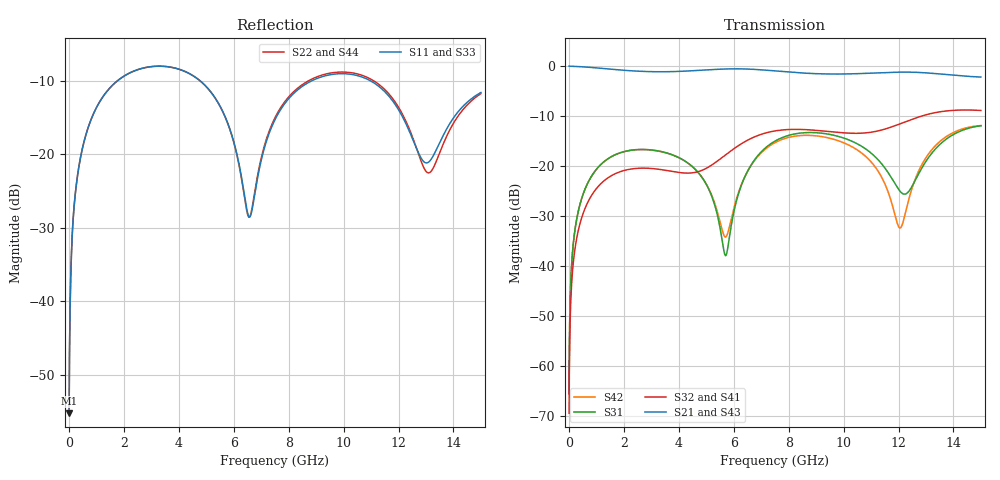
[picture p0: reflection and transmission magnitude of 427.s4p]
! Created with skrf 1.8.0 (http://scikit-rf.org).
# GHz S RI R 50.0
!freq ReS11 ImS11 ReS12 ImS12 ReS13 ImS13
! ReS14 ImS14
! ReS21 ImS21 ReS22 ImS22 ReS23 ImS23
! ReS24 ImS24
! ReS31 ImS31 ReS32 ImS32 ReS33 ImS33
! ReS34 ImS34
! ReS41 ImS41 ReS42 ImS42 ReS43 ImS43
! ReS44 ImS44
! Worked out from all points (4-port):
!   2499 points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, 5 MHz to 15 GHz, reference 50 ohm
!   strongest paths, dB at 5 MHz, 3.476 GHz, 7.19 GHz, 11.1 GHz, 15 GHz:
!     S21: 0.0, -1.1, -0.8, -1.4, -2.2
!     S43: 0.0, -1.1, -0.8, -1.4, -2.2
!     S32: -69.4, -20.8, -13.3, -13.1, -8.9
!     S41: -69.4, -20.8, -13.3, -13.2, -8.9
!     S31: -65.5, -17.2, -16.2, -17.8, -11.9
!     S42: -65.5, -17.3, -16.4, -19.8, -11.9
!   lowest |S11| = -55.3 dB at 5 MHz (marker M1), VSWR 1.00, Z = 50.1 + j0.105 ohm
!   |S11| at or under -10 dB: start of sweep to 1.766 GHz; 4.774 GHz to 8.841 GHz (4.067 GHz wide, 59.7 % of centre); 10.98 GHz to end of sweep
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0.005  0.00137 0.00105  0.9986 -0.00267  6.76e-05 0.000527  -6.58e-05 -0.000333
       0.9986 -0.00267  0.00137 0.00105  -6.58e-05 -0.000333  6.76e-05 0.000527
       6.76e-05 0.000527  -6.58e-05 -0.000333  0.00137 0.00105  0.9986 -0.00267
       -6.58e-05 -0.000333  6.76e-05 0.000527  0.9986 -0.00267  0.00137 0.00105
0.3626511  0.0222 0.0798  0.9695 -0.1928  0.0101 0.0364  -0.00838 -0.0228
           0.9695 -0.1928  0.0223 0.0798  -0.00839 -0.0228  0.01 0.0364
           0.0101 0.0364  -0.00839 -0.0228  0.0222 0.0798  0.9695 -0.1928
           -0.00838 -0.0228  0.01 0.0364  0.9695 -0.1928  0.0223 0.0798
1.67  0.2388 0.1902  0.6154 -0.6893  0.1117 0.0658  -0.082 -0.0167
      0.6154 -0.6893  0.239 0.1901  -0.0821 -0.0166  0.111 0.0667
      0.1117 0.0658  -0.0821 -0.0166  0.2388 0.1902  0.6154 -0.6894
      -0.082 -0.0167  0.111 0.0667  0.6154 -0.6894  0.2391 0.1901
6.465194  0.0366 -0.0231  -0.9307 -0.0929  0.00186 0.0849  -0.0162 0.1787
          -0.9307 -0.0929  0.0365 -0.0208  -0.0142 0.1789  -0.0112 0.0841
          0.00186 0.0849  -0.0142 0.1789  0.0356 -0.0242  -0.9307 -0.093
          -0.0162 0.1787  -0.0112 0.0841  -0.9307 -0.093  0.0377 -0.0214
10.54189  0.3314 -0.0821  0.1483 0.828  0.1161 -0.117  0.1912 -0.09
          0.1483 0.828  0.3377 -0.0945  0.1905 -0.0957  0.12 -0.0771
          0.1161 -0.117  0.1905 -0.0957  0.3294 -0.0784  0.1492 0.8284
          0.1912 -0.09  0.12 -0.0771  0.1492 0.8284  0.3363 -0.0978
12.06128  0.1443 -0.1269  0.6815 0.5424  -0.044 -0.0345  0.1622 -0.21
          0.6815 0.5424  0.1395 -0.1432  0.1563 -0.2145  -0.0223 -0.009
          -0.044 -0.0345  0.1563 -0.2145  0.1439 -0.1234  0.683 0.5413
          0.1622 -0.21  -0.0223 -0.009  0.683 0.5413  0.1361 -0.1425
15  0.2506 0.0807  0.5861 -0.5101  0.2382 0.0876  -0.2883 -0.211
    0.5861 -0.5101  0.2425 0.0899  -0.2964 -0.2054  0.2341 0.0995
    0.2382 0.0876  -0.2964 -0.2054  0.2482 0.0859  0.5835 -0.511
    -0.2883 -0.211  0.2341 0.0995  0.5835 -0.511  0.2523 0.0905
